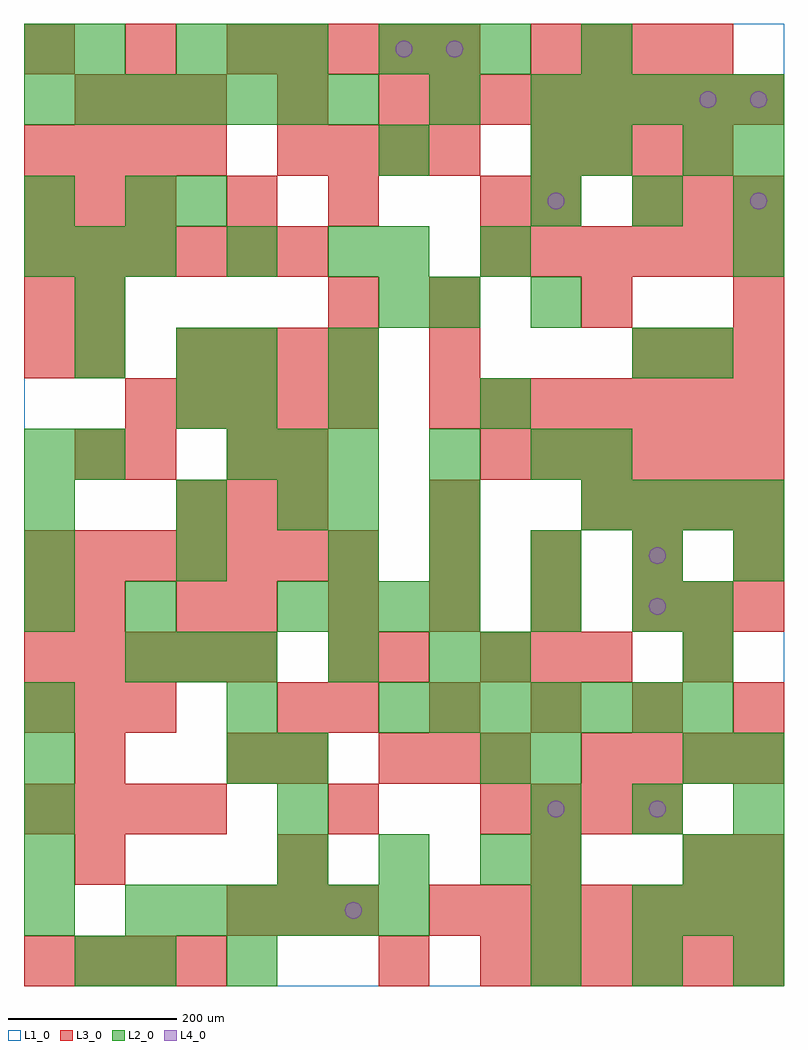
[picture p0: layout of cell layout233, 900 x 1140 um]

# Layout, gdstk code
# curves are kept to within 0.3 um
import gdstk
lib = gdstk.Library(unit=1e-6, precision=1e-09)
def R(c, l, rs):  # rectangles x0, y0, x1, y1
    for r in rs: c.add(gdstk.rectangle(r[:2], r[2:], *l))
def A(c, l, x, y, w, h, nx, ny, dx, dy):  # array of equal rectangles
    R(c, l, [(x+i*dx, y+j*dy, x+i*dx+w, y+j*dy+h) for i in range(nx) for j in range(ny)])
def P(c, l, *ps):  # polygons
    for p in ps: c.add(gdstk.Polygon(p, *l))
L1_0 = (1, 0)
L2_0 = (2, 0)
L3_0 = (3, 0)
L4_0 = (4, 0)

layout233 = lib.new_cell('layout233')
R(layout233, L1_0, [(0,0,900,1140)])
A(layout233, L2_0, 600, 0, 60, 60, 3, 2, 120, 900)
A(layout233, L2_0, 120, 60, 60, 60, 6, 1, 60, 0)
A(layout233, L2_0, 720, 60, 60, 60, 3, 1, 60, 0)
A(layout233, L2_0, 300, 120, 60, 60, 3, 1, 120, 0)
A(layout233, L2_0, 780, 120, 60, 60, 1, 3, 0, 120)
A(layout233, L2_0, 840, 120, 60, 60, 1, 3, 0, 60)
A(layout233, L2_0, 0, 180, 60, 60, 3, 1, 300, 0)
A(layout233, L2_0, 600, 240, 60, 60, 1, 5, 0, 180)
A(layout233, L2_0, 0, 300, 60, 60, 1, 3, 0, 120)
A(layout233, L2_0, 420, 300, 60, 60, 7, 1, 60, 0)
A(layout233, L2_0, 120, 360, 60, 60, 3, 1, 60, 0)
A(layout233, L2_0, 300, 420, 60, 60, 4, 1, 60, 0)
A(layout233, L2_0, 0, 480, 60, 60, 3, 1, 180, 0)
A(layout233, L2_0, 480, 480, 60, 60, 4, 1, 120, 0)
A(layout233, L2_0, 660, 540, 60, 60, 4, 1, 60, 0)
A(layout233, L2_0, 240, 600, 60, 60, 3, 1, 60, 0)
A(layout233, L2_0, 0, 840, 60, 60, 3, 1, 60, 0)
A(layout233, L2_0, 0, 1020, 60, 60, 7, 1, 60, 0)
A(layout233, L2_0, 600, 1020, 60, 60, 5, 1, 60, 0)
A(layout233, L2_0, 180, 1080, 60, 60, 3, 1, 60, 0)
A(layout233, L2_0, 420, 1080, 60, 60, 3, 1, 60, 0)
R(layout233, L2_0, [(60,0,120,60), (120,0,180,60), (240,0,300,60), (0,60,60,120), (600,60,660,120), (0,120,60,180), (600,120,660,180), (720,180,780,240), (0,240,60,300), (240,240,300,300), (300,240,360,300), (540,240,600,300), (240,300,300,360), (360,360,420,420), (480,360,540,420), (540,360,600,420), (120,420,180,480), (720,420,780,480), (780,420,840,480), (180,540,240,600), (300,540,360,600), (360,540,420,600), (480,540,540,600), (0,600,60,660), (60,600,120,660), (480,600,540,660), (660,600,720,660), (180,660,240,720), (240,660,300,720), (360,660,420,720), (540,660,600,720), (60,720,120,780), (180,720,240,780), (240,720,300,780), (360,720,420,780), (720,720,780,780), (780,720,840,780), (60,780,120,840), (420,780,480,840), (480,780,540,840), (240,840,300,900), (360,840,420,900), (420,840,480,900), (540,840,600,900), (840,840,900,900), (0,900,60,960), (120,900,180,960), (180,900,240,960), (420,960,480,1020), (660,960,720,1020), (780,960,840,1020), (840,960,900,1020), (480,1020,540,1080), (0,1080,60,1140), (60,1080,120,1140), (660,1080,720,1140)])
A(layout233, L3_0, 0, 0, 60, 60, 4, 2, 60, 180)
A(layout233, L3_0, 540, 0, 60, 60, 6, 2, 60, 600)
A(layout233, L3_0, 240, 60, 60, 60, 3, 1, 60, 0)
A(layout233, L3_0, 480, 60, 60, 60, 7, 2, 60, 600)
A(layout233, L3_0, 540, 180, 60, 60, 4, 1, 60, 0)
A(layout233, L3_0, 60, 240, 60, 60, 1, 3, 0, 180)
A(layout233, L3_0, 420, 240, 60, 60, 3, 1, 60, 0)
A(layout233, L3_0, 660, 240, 60, 60, 4, 2, 60, 300)
A(layout233, L3_0, 0, 300, 60, 60, 3, 2, 60, 600)
A(layout233, L3_0, 360, 300, 60, 60, 5, 1, 120, 0)
A(layout233, L3_0, 0, 360, 60, 60, 5, 1, 60, 0)
A(layout233, L3_0, 540, 360, 60, 60, 3, 1, 60, 0)
A(layout233, L3_0, 240, 420, 60, 60, 5, 1, 120, 0)
A(layout233, L3_0, 0, 480, 60, 60, 7, 1, 60, 0)
A(layout233, L3_0, 480, 480, 60, 60, 4, 1, 120, 0)
A(layout233, L3_0, 180, 540, 60, 60, 3, 1, 60, 0)
A(layout233, L3_0, 120, 660, 60, 60, 5, 1, 60, 0)
A(layout233, L3_0, 180, 720, 60, 60, 4, 1, 60, 0)
A(layout233, L3_0, 720, 720, 60, 60, 3, 2, 60, 180)
A(layout233, L3_0, 480, 780, 60, 60, 3, 1, 180, 0)
A(layout233, L3_0, 0, 840, 60, 60, 6, 1, 60, 0)
A(layout233, L3_0, 540, 840, 60, 60, 6, 1, 60, 0)
A(layout233, L3_0, 0, 960, 60, 60, 4, 1, 60, 0)
A(layout233, L3_0, 300, 960, 60, 60, 4, 2, 60, 120)
A(layout233, L3_0, 600, 960, 60, 60, 4, 2, 60, 120)
A(layout233, L3_0, 60, 1020, 60, 60, 3, 1, 60, 0)
A(layout233, L3_0, 420, 1020, 60, 60, 8, 1, 60, 0)
A(layout233, L3_0, 0, 1080, 60, 60, 3, 1, 120, 0)
R(layout233, L3_0, [(420,0,480,60), (60,120,120,180), (300,120,360,180), (600,120,660,180), (780,120,840,180), (840,120,900,180), (360,180,420,240), (240,240,300,300), (300,240,360,300), (300,300,360,360), (360,360,420,420), (420,360,480,420), (780,360,840,420), (0,420,60,480), (180,420,240,480), (780,420,840,480), (840,420,900,480), (480,540,540,600), (120,600,180,660), (240,600,300,660), (300,600,360,660), (0,720,60,780), (60,720,120,780), (480,720,540,780), (0,780,60,840), (60,780,120,840), (360,780,420,840), (240,900,300,960), (360,900,420,960), (540,900,600,960), (600,900,660,960), (300,1020,360,1080)])
P(layout233, L4_0, [(400,90),(399.239,93.827),(397.071,97.071),(393.827,99.239),(390,100),(386.173,99.239),(382.929,97.071),(380.761,93.827),(380,90),(380.761,86.173),(382.929,82.929),(386.173,80.761),(390,80),(393.827,80.761),(397.071,82.929),(399.239,86.173)],
  [(460,1110),(459.239,1113.827),(457.071,1117.071),(453.827,1119.239),(450,1120),(446.173,1119.239),(442.929,1117.071),(440.761,1113.827),(440,1110),(440.761,1106.173),(442.929,1102.929),(446.173,1100.761),(450,1100),(453.827,1100.761),(457.071,1102.929),(459.239,1106.173)],
  [(520,1110),(519.239,1113.827),(517.071,1117.071),(513.827,1119.239),(510,1120),(506.173,1119.239),(502.929,1117.071),(500.761,1113.827),(500,1110),(500.761,1106.173),(502.929,1102.929),(506.173,1100.761),(510,1100),(513.827,1100.761),(517.071,1102.929),(519.239,1106.173)],
  [(640,210),(639.239,213.827),(637.071,217.071),(633.827,219.239),(630,220),(626.173,219.239),(622.929,217.071),(620.761,213.827),(620,210),(620.761,206.173),(622.929,202.929),(626.173,200.761),(630,200),(633.827,200.761),(637.071,202.929),(639.239,206.173)],
  [(640,930),(639.239,933.827),(637.071,937.071),(633.827,939.239),(630,940),(626.173,939.239),(622.929,937.071),(620.761,933.827),(620,930),(620.761,926.173),(622.929,922.929),(626.173,920.761),(630,920),(633.827,920.761),(637.071,922.929),(639.239,926.173)],
  [(760,210),(759.239,213.827),(757.071,217.071),(753.827,219.239),(750,220),(746.173,219.239),(742.929,217.071),(740.761,213.827),(740,210),(740.761,206.173),(742.929,202.929),(746.173,200.761),(750,200),(753.827,200.761),(757.071,202.929),(759.239,206.173)],
  [(760,450),(759.239,453.827),(757.071,457.071),(753.827,459.239),(750,460),(746.173,459.239),(742.929,457.071),(740.761,453.827),(740,450),(740.761,446.173),(742.929,442.929),(746.173,440.761),(750,440),(753.827,440.761),(757.071,442.929),(759.239,446.173)],
  [(760,510),(759.239,513.827),(757.071,517.071),(753.827,519.239),(750,520),(746.173,519.239),(742.929,517.071),(740.761,513.827),(740,510),(740.761,506.173),(742.929,502.929),(746.173,500.761),(750,500),(753.827,500.761),(757.071,502.929),(759.239,506.173)],
  [(820,1050),(819.239,1053.827),(817.071,1057.071),(813.827,1059.239),(810,1060),(806.173,1059.239),(802.929,1057.071),(800.761,1053.827),(800,1050),(800.761,1046.173),(802.929,1042.929),(806.173,1040.761),(810,1040),(813.827,1040.761),(817.071,1042.929),(819.239,1046.173)],
  [(880,930),(879.239,933.827),(877.071,937.071),(873.827,939.239),(870,940),(866.173,939.239),(862.929,937.071),(860.761,933.827),(860,930),(860.761,926.173),(862.929,922.929),(866.173,920.761),(870,920),(873.827,920.761),(877.071,922.929),(879.239,926.173)],
  [(880,1050),(879.239,1053.827),(877.071,1057.071),(873.827,1059.239),(870,1060),(866.173,1059.239),(862.929,1057.071),(860.761,1053.827),(860,1050),(860.761,1046.173),(862.929,1042.929),(866.173,1040.761),(870,1040),(873.827,1040.761),(877.071,1042.929),(879.239,1046.173)])

lib.write_gds('layout233.gds')
